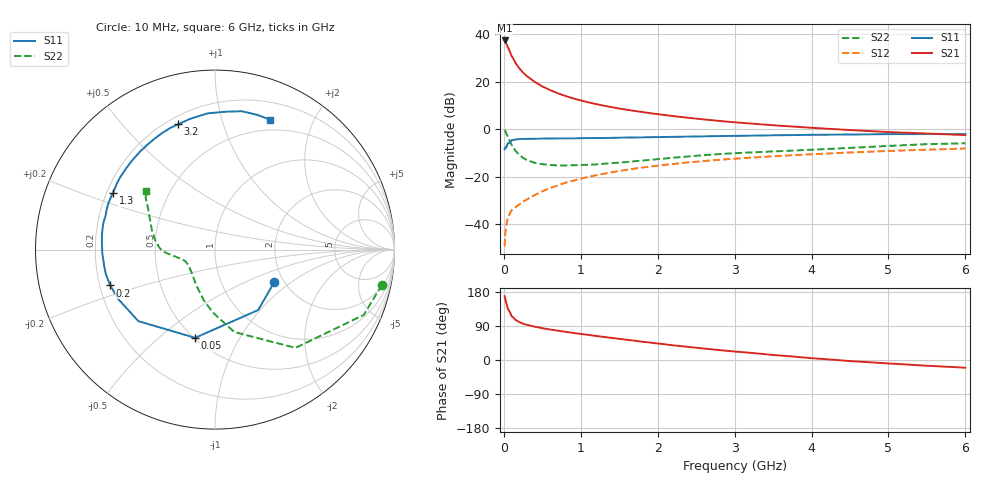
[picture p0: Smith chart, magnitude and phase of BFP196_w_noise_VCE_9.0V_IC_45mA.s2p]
! (c) 2017  Infineon Technologies AG, Munich
! Infineon Technologies  Discrete & RF Semiconductors
! BFP196
! VCE =  9.0 V,  IC =  45 mA
! Common Emitter S-Parameters:  Jan 2017
# GHz  S  MA  R  50
!  f  S11  S21  S12  S22
! GHz  MAG  ANG  MAG  ANG  MAG  ANG  MAG  ANG
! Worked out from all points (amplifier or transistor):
!   77 points, 10 MHz to 6 GHz, reference 50 ohm
!   highest |S21| = 37.4 dB at 10 MHz (marker M1)
!   |S21| within 3 dB of that: start of sweep to 55.19 MHz
!   unconditionally stable (mu >= 1): 613 MHz to 2.394 GHz
!   at 130 MHz: K = 0.56, MSG = 31.4 dB, |S12| = -33.5 dB
!   at 2.2 GHz: K = 1.01, MAG = 9.5 dB, |S12| = -14.7 dB
!   at 6 GHz: K = 0.93, MSG = 2.8 dB, |S12| = -8.2 dB
!   lowest NFmin = 1.39 dB at 450 MHz
!   S11 on the Smith chart (normalised r, x): 10 MHz: 1.79, -0.75; 50 MHz: 0.51, -0.67; 200 MHz: 0.24, -0.16; 1.3 GHz: 0.23, +0.25; 3.2 GHz: 0.24, +0.72; 6 GHz: 0.38, +1.44
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0.01  0.3765 -28.5  74.15 168.6  0.0034 81.6  0.9507 -11.9
0.02  0.4139 -54.4  71.58 158.6  0.0065 72.9  0.9052 -23.7
0.05  0.504 -102.7  54.75 135.5  0.0132 59.5  0.7077 -50.7
0.1  0.5842 -137.0  35.3 115.7  0.0193 53.1  0.4715 -76.8
0.15  0.6049 -152.8  25.07 106.1  0.0225 52.0  0.351 -91.9
0.2  0.6171 -161.1  19.28 100.1  0.0257 54.6  0.287 -102.9
0.25  0.6234 -167.2  15.59 95.8  0.0294 56.4  0.2479 -110.8
0.3  0.6239 -171.4  13.07 92.8  0.0329 58.7  0.2228 -118.1
0.4  0.628 -177.9  9.923 87.8  0.0405 62.5  0.1954 -128.3
0.5  0.6308 177.2  7.959 83.9  0.0488 64.1  0.1822 -136.1
0.6  0.6347 173.1  6.668 80.5  0.0569 64.4  0.1757 -142.1
0.7  0.6372 169.7  5.719 77.5  0.065 65.4  0.1714 -146.8
0.9  0.638 162.9  4.457 71.5  0.0816 64.3  0.1731 -153.2
1.1  0.6472 156.9  3.674 66.2  0.0987 63.6  0.1771 -158.0
1.3  0.6505 150.9  3.121 60.9  0.1146 61.5  0.1857 -161.6
1.6  0.6642 142.8  2.561 53.3  0.1387 58.2  0.202 -166.1
2.1  0.6828 129.6  1.974 41.3  0.1766 52.1  0.2408 -172.4
3.1  0.7245 108.2  1.354 20.7  0.2433 39.3  0.3163 176.2
3.2  0.7275 106.4  1.315 19.0  0.2492 38.1  0.3215 174.8
4.1  0.7612 91.6  1.044 3.4  0.3003 27.4  0.3742 161.0
5.1  0.7846 77.8  0.855 -10.3  0.3508 15.9  0.4498 146.8
6  0.7862 66.9  0.75 -20.4  0.39 5.8  0.5033 139.4
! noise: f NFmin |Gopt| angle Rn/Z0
0.45  1.39  0.37  -180  0.06
0.9  1.55  0.46  -166  0.07
1.9  2.36  0.68  -133  0.3
2.4  2.76  0.7  -120  0.65
